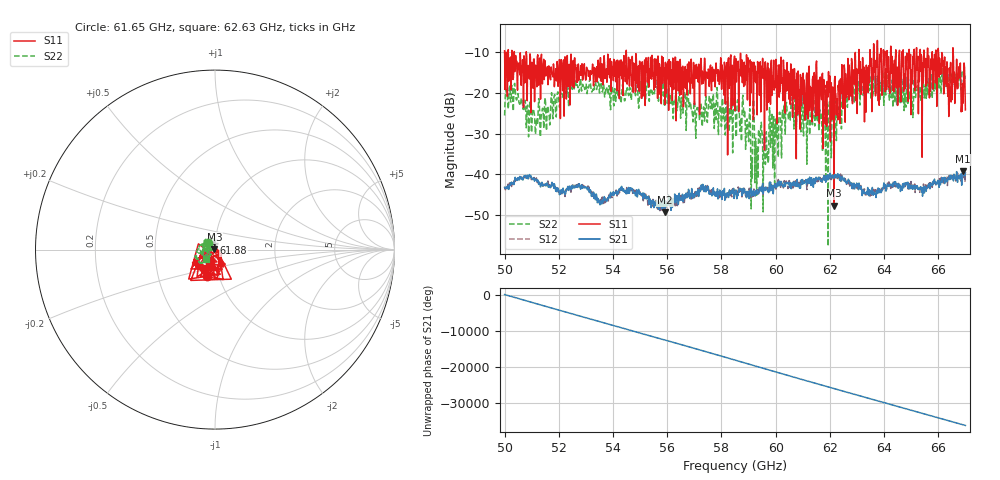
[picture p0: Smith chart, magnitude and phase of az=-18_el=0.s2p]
!Created with skrf (http://scikit-rf.org).
# GHz S RI R 50.0
!freq ReS11 ImS11 ReS21 ImS21 ReS12 ImS12 ReS22 ImS22
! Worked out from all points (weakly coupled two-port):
!   1001 points, 50 GHz to 67 GHz, reference 50 ohm
!   highest |S21| = -39.21 dB at 66.9 GHz (marker M1); lowest = -49.3 dB at 55.92 GHz (marker M2)
!   lowest |S11| = -47.6 dB at 62.16 GHz (marker M3), VSWR 1.01, Z = 49.6 + j0.177 ohm
!   |S11| at or under -10 dB: 50.8 GHz to 54.49 GHz (3.688 GHz wide, 7.01 % of centre); 54.49 GHz to 63.07 GHz (8.582 GHz wide, 14.6 % of centre); 66.01 GHz to 66.54 GHz (532.1 MHz wide, 0.803 % of centre) (the widest 3 of 28)
!   |S22| runs from -57.5 to -13.8 dB; largest |S21 - S12| = 0.0024
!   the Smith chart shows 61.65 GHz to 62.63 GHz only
!   S11 on the Smith chart (normalised r, x): 61.65 GHz: 0.87, -0.26; 61.88 GHz: 0.99, +0.08; 62.63 GHz: 0.94, -0.18
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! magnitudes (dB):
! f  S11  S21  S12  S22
! 50 GHz  -9.8  -43.2  -43.0  -25.6
! 50.42 GHz  -13.2  -41.4  -41.5  -21.5
! 51.38 GHz  -16.4  -41.9  -41.8  -24.6
! 52.84 GHz  -13.8  -42.5  -42.9  -19.6
! 55.68 GHz  -13.5  -47.3  -47.7  -22.1
! 55.92 GHz  -22.9  -49.3  -47.9  -22.0
! 58.5 GHz  -24.4  -44.4  -43.9  -24.0
! 58.86 GHz  -18.2  -43.6  -43.9  -24.3
! 59.32 GHz  -25.4  -44.6  -44.0  -33.0
! 60.64 GHz  -14.3  -42.6  -43.3  -22.4
! 61.34 GHz  -27.2  -42.3  -41.9  -25.5
! 61.65 GHz  -16.2  -41.2  -40.8  -25.2
! 61.88 GHz  -28.3  -40.6  -40.5  -23.1
! 62.16 GHz  -47.6  -40.8  -40.8  -28.3
! 62.63 GHz  -20.0  -42.2  -41.9  -23.1
! 63.33 GHz  -24.8  -44.6  -44.1  -19.3
! 63.69 GHz  -20.8  -44.7  -43.7  -16.4
! 64.18 GHz  -18.7  -42.9  -41.8  -18.5
! 66.08 GHz  -15.5  -42.4  -41.8  -15.8
! 66.42 GHz  -15.6  -41.1  -41.3  -16.2
! 66.9 GHz  -17.8  -39.2  -39.8  -15.1
! 67 GHz  -24.2  -39.6  -39.8  -15.8
